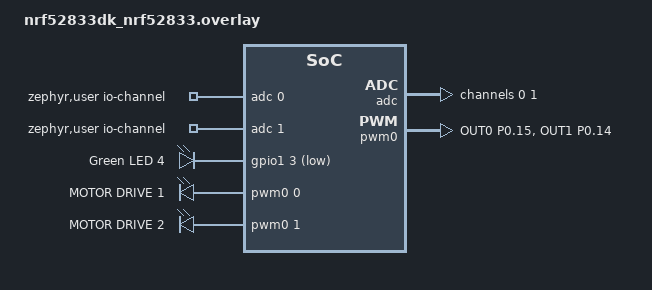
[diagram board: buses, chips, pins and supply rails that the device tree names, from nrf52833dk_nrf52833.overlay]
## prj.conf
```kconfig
CONFIG_GPIO=y
CONFIG_LOG=y
CONFIG_ADC=y
CONFIG_CBPRINTF_FP_SUPPORT=y
CONFIG_PWM=y
CONFIG_ADC_NRFX_SAADC=y
```

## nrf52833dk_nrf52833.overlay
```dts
// To get started, press Ctrl+Space (or Option+Esc) to bring up the completion menu and view the available nodes.

// You can also use the buttons in the sidebar to perform actions on nodes.
// Actions currently available include:

// * Enabling / disabling the node
// * Adding the bus to a bus
// * Removing the node
// * Connecting ADC channels

// For more help, browse the DeviceTree documentation at https://docs.zephyrproject.org/latest/guides/dts/index.html
// You can also visit the nRF DeviceTree extension documentation at https://nrfconnect.github.io/vscode-nrf-connect/devicetree/nrfdevicetree.html

/ {
  aliases {
    vslow = &vslow;
    vfast = &vfast;
    heartbeat= &led0;
    buzzer= &led1;
    ivdrip= &led2;
    alarm= &led3;
    error= &led4;
    button0= &button0;
    button1= &button1;
    button2= &button2;
    button3= &button3;
    drv1 = &drv1;
    drv2 = &drv2;
  };
  zephyr,user {
    io-channels = <&adc 0>, <&adc 1>; // need to "activate" these channels for IO usage
  };
  leds {
    compatible = "gpio-leds";
    led4: led_4 {        
      gpios = <&gpio1 3 GPIO_ACTIVE_LOW>;
      label = "Green LED 4";
    };
  };
  pwm_motor {
    compatible = "pwm-leds";
    drv1: drv_1 {
    pwms = < &pwm0 0 PWM_MSEC(1) PWM_POLARITY_INVERTED>; // 0 - channel
    label = "MOTOR DRIVE 1";
    };
    drv2: drv_2 {
    pwms = < &pwm0 1 PWM_MSEC(1) PWM_POLARITY_INVERTED>; // 1 - channel
    label = "MOTOR DRIVE 2";
    };
  };
};
&adc {
  #address-cells = <1>;
  #size-cells = <0>;

  vslow: channel@0 {
  reg = <0>; // channel number
  zephyr,reference = "ADC_REF_INTERNAL"; // voltage ref for SA (0.6 V)
  zephyr,gain = "ADC_GAIN_1_5"; // gain factor to scale ref voltage (1/gain)
  zephyr,acquisition-time = <ADC_ACQ_TIME_DEFAULT>;
  zephyr,input-positive = <NRF_SAADC_AIN0>; // P0.02
  zephyr,resolution = <8>; // bit depth
  };
  vfast: channel@1 {
    reg = <1>; // channel number
    zephyr,reference = "ADC_REF_VDD_1_4"; // voltage ref VDD
    zephyr,gain = "ADC_GAIN_1_5"; // gain factor to scale ref voltage (1/gain)
    zephyr,acquisition-time = <ADC_ACQ_TIME_DEFAULT>;
    zephyr,input-positive = <NRF_SAADC_AIN1>; // P0.03
    zephyr,resolution = <12>; // bit depth
    zephyr,vref-mv = <750>;
  };
  status = "okay"; // enable the ADC
};
&pwm0 {
  compatible = "nordic,nrf-pwm";
  reg = <0x4001c000 0x1000>;
  interrupts = <28 NRF_DEFAULT_IRQ_PRIORITY>;
  status = "okay";
  #pwm-cells = <3>;
  pinctrl-0 = <&pwm0_default>;
  pinctrl-1 = <&pwm0_sleep>;
  pinctrl-names = "default", "sleep";
};
&pinctrl {
  compatible = "nordic,nrf-pinctrl";
  status = "okay";
  pwm0_default: pwm0_default {
    group1 {
      psels = <NRF_PSEL(PWM_OUT0, 0, 15)>, // P0.15, channel 0
      <NRF_PSEL(PWM_OUT1, 0, 14)>; // P0.14, channel 1
      nordic,invert;
    };
  };
  pwm0_sleep: pwm0_sleep {
    group1 {
      psels = <NRF_PSEL(PWM_OUT0, 0, 15)>, // P0.15, channel 0
      <NRF_PSEL(PWM_OUT1, 0, 14)>; // P0.14, channel 1
      low-power-enable;
    };
  };
};
```

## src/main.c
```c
/*
 * Copyright (c) 2016 Intel Corporation
 *
 * SPDX-License-Identifier: Apache-2.0
 */

// load in the Zephyr library
#include <zephyr/kernel.h>
#include <zephyr/device.h>
#include <zephyr/devicetree.h>
#include <zephyr/drivers/gpio.h>
#include <zephyr/logging/log.h>
#include <zephyr/drivers/adc.h>
#include <zephyr/drivers/pwm.h>

LOG_MODULE_REGISTER(Zephyr_DPC,LOG_LEVEL_DBG);

/* 1000 msec = 1 sec */
#define ONE_HZ 500
#define FIVE_HZ 100
#define ONE_TO_FIVE_DIFF_HZ 400
#define FIVE_TO_TEN_DIFF_HZ 50

#define ADC_DT_SPEC_GET_BY_ALIAS(node_id)                    \
{                                                            \
  .dev = DEVICE_DT_GET(DT_PARENT(DT_ALIAS(node_id))),        \
  .channel_id = DT_REG_ADDR(DT_ALIAS(node_id)),              \
  ADC_CHANNEL_CFG_FROM_DT_NODE(DT_ALIAS(node_id))            \
}                                                            \

#define DT_SPEC_AND_COMMA(node_id, prop, idx)                \
	      ADC_DT_SPEC_GET_BY_IDX(node_id, idx),

// define structs based on DT aliases
/* ADC channels (specified in DT overlay) */
static const struct adc_dt_spec adc_vslow = ADC_DT_SPEC_GET_BY_ALIAS(vslow);
static const struct adc_dt_spec adc_vfast = ADC_DT_SPEC_GET_BY_ALIAS(vfast);

/* LEDs */
#define HB_NODE	DT_ALIAS(heartbeat)
static const struct gpio_dt_spec hb = GPIO_DT_SPEC_GET(HB_NODE, gpios);
#define BZ_NODE	DT_ALIAS(buzzer)
static const struct gpio_dt_spec bz = GPIO_DT_SPEC_GET(BZ_NODE, gpios);
#define IV_NODE	DT_ALIAS(ivdrip)
static const struct gpio_dt_spec iv = GPIO_DT_SPEC_GET(IV_NODE, gpios);
#define ALRM_NODE	DT_ALIAS(alarm)
static const struct gpio_dt_spec alrm = GPIO_DT_SPEC_GET(ALRM_NODE, gpios);
#define ERROR_NODE	DT_ALIAS(error)
static const struct gpio_dt_spec errled = GPIO_DT_SPEC_GET(ERROR_NODE, gpios);

/* Buttons */
#define BUTTON0_NODE	DT_ALIAS(button0) 
static const struct gpio_dt_spec butt0 = GPIO_DT_SPEC_GET(BUTTON0_NODE, gpios);
#define BUTTON1_NODE	DT_ALIAS(button1) 
static const struct gpio_dt_spec butt1 = GPIO_DT_SPEC_GET(BUTTON1_NODE, gpios);
#define BUTTON2_NODE	DT_ALIAS(button2) 
static const struct gpio_dt_spec butt2 = GPIO_DT_SPEC_GET(BUTTON2_NODE, gpios);
#define BUTTON3_NODE	DT_ALIAS(button3) 
static const struct gpio_dt_spec butt3 = GPIO_DT_SPEC_GET(BUTTON3_NODE, gpios);

/* PWM */
static const struct pwm_dt_spec mtr_drv1 = PWM_DT_SPEC_GET(DT_ALIAS(drv1));
static const struct pwm_dt_spec mtr_drv2 = PWM_DT_SPEC_GET(DT_ALIAS(drv2));

//global variables
static float maxV = 3300;
static int dormant = 0;
static int sleep_count = 0;
static int32_t val_mv_slow = 0;
static int32_t val_mv_fast = 0;
static float saw[20] = {0, 0.05, 0.1 , 0.15, 0.2 , 0.25, 0.3 , 0.35, 0.4 , 0.45, 0.5 ,
       0.55, 0.6 , 0.65, 0.7 , 0.75, 0.8 , 0.85, 0.9 , 0.95};
static int func_ind = 0;
static float func_val = 0;
static float func_hz = 0;

/* Timers */
//timer for heartbeat
void fixed_hb(struct k_timer *heartbeats)
{
  gpio_pin_toggle_dt(&hb);
}
K_TIMER_DEFINE(heartbeats, fixed_hb, NULL);

//timer for LED3
void mod_led2(struct k_timer *pwmled)
{
  if (func_ind == 19) {
    //reset indexing of lookup table if at end of tooth
    func_ind = 0;
  }
  else {
    //else increment the table values
    func_ind += 1;
  }
  int err;
  //modulate PWM based on table value
  err = pwm_set_pulse_dt(&mtr_drv2, mtr_drv2.period * saw[func_ind]); // % duty cycle based on ADC1 reading    
  if (err) {
    LOG_ERR("Could not set motor driver 2 (PWM1)");
  }
}
K_TIMER_DEFINE(pwmled, mod_led2, NULL);

/* Callbacks */
/* Resets everything to base state*/
void button3_pressed(const struct device *dev, struct gpio_callback *cb, uint32_t pins)
{
  k_timer_stop(&heartbeats);
  k_timer_start(&heartbeats, K_MSEC(ONE_HZ), K_MSEC(ONE_HZ));
}
static struct gpio_callback butt3_cb_data;

/* Sleep and restores to before sleep*/
void button0_pressed(const struct device *dev, struct gpio_callback *cb, uint32_t pins)
{
  if (sleep_count == 0){
    sleep_count = 1;
  }
  else {
    sleep_count = 0;
  }
}
static struct gpio_callback butt0_cb_data;

/* Read ADCs */
int32_t read_adc_val_slow()
{
  /* Read adc channel 0*/
  int16_t buf;
  struct adc_sequence sequence = {
    .buffer = &buf,
    .buffer_size = sizeof(buf), // bytes
  };
  LOG_INF("Measuring %s (channel %d)... ", adc_vslow.dev->name, adc_vslow.channel_id);
  (void)adc_sequence_init_dt(&adc_vslow, &sequence);
  int ret;
  ret = adc_read(adc_vslow.dev, &sequence);
  if (ret < 0) {
    LOG_ERR("Could not read (%d)", ret);
  } else {
    LOG_DBG("Raw ADC Buffer: %d", buf);
  }
  int32_t val_mv;
  val_mv = buf;
  ret = adc_raw_to_millivolts_dt(&adc_vslow, &val_mv);
  if (ret < 0) {
    LOG_ERR("Buffer cannot be converted to mV; returning raw buffer value.");
  } else {
    LOG_INF("AIN0 ADC Value (mV): %d", val_mv);
  }
  return val_mv;
}

int32_t read_adc_val_fast()
{
  /* Read adc channel 1*/
  int16_t buf;
  struct adc_sequence sequence = {
    .buffer = &buf,
    .buffer_size = sizeof(buf), // bytes
  };
  LOG_INF("Measuring %s (channel %d)... ", adc_vfast.dev->name, adc_vfast.channel_id);
  (void)adc_sequence_init_dt(&adc_vfast, &sequence);
  int ret;
  ret = adc_read(adc_vfast.dev, &sequence);
  if (ret < 0) {
    LOG_ERR("Could not read (%d)", ret);
  } else {
    LOG_DBG("Raw ADC Buffer: %d", buf);
  }
  int32_t val_mv;
  val_mv = buf;
  ret = adc_raw_to_millivolts_dt(&adc_vfast, &val_mv);
  if (ret < 0) {
    LOG_ERR("Buffer cannot be converted to mV; returning raw buffer value.");
  } else {
    LOG_INF("AIN1 ADC Value (mV): %d", val_mv);
  }
  return val_mv;
}

void main(void)
{
  int err;

  /**capture exit or error codes**/
  err = !device_is_ready(adc_vslow.dev);
  if (err){
    LOG_ERR("ADC controller device(s) not ready");
    return -1;
  }

  err = !device_is_ready(errled.port);
	if (err) {
		LOG_ERR("gpio1 interface not ready.");
    return;
	}

  err = !device_is_ready(butt0.port);
  if (err) {
    LOG_ERR("gpio0 interface not ready.");
    return;
  }

  if (!device_is_ready(mtr_drv1.dev)) {
    LOG_ERR("PWM device %s is not ready.", mtr_drv1.dev->name);
    return -1;
  }

  /* Setup ADCs */
  err = adc_channel_setup_dt(&adc_vslow);
  if (err < 0) {
    LOG_ERR("Could not setup vslow ADC channel (%d)", err);
    return err;
  }

  err = adc_channel_setup_dt(&adc_vfast);
  if (err < 0) {
    LOG_ERR("Could not setup vslow ADC channel (%d)", err);
    return err;
  }

  /* Setup LEDs */
  err = gpio_pin_configure_dt(&hb, GPIO_OUTPUT_LOW);
	if (err < 0) {
		LOG_ERR("Cannot configure heartbeat led");
    return;
	}

  err = gpio_pin_configure_dt(&bz, GPIO_OUTPUT_LOW);
	if (err < 0) {
		LOG_ERR("Cannot configure buzzer led");
    return;
	}

  err = gpio_pin_configure_dt(&iv, GPIO_OUTPUT_LOW);
	if (err < 0) {
		LOG_ERR("Cannot configure ivdrip led");
    return;
	}

  /* Setup buttons */
  err = gpio_pin_configure_dt(&butt0, GPIO_INPUT);
	if (err < 0) {
    LOG_ERR("Cannot configure button0");
		return;
	}

  err = gpio_pin_configure_dt(&butt3, GPIO_INPUT);
	if (err < 0) {
    LOG_ERR("Cannot configure button3");
		return;
	}

  /* Setup callbacks */
  err = gpio_pin_interrupt_configure_dt(&butt0, GPIO_INT_EDGE_TO_ACTIVE );
  if (err < 0) {
    LOG_ERR("Cannot configure button0");
		return;
	}
  gpio_init_callback(&butt0_cb_data, button0_pressed, BIT(butt0.pin));
	gpio_add_callback(butt0.port, &butt0_cb_data);

  err = gpio_pin_interrupt_configure_dt(&butt3, GPIO_INT_EDGE_TO_ACTIVE );
  if (err < 0) {
    LOG_ERR("Cannot configure button3");
		return;
	}
  gpio_init_callback(&butt3_cb_data, button3_pressed, BIT(butt3.pin));
	gpio_add_callback(butt3.port, &butt3_cb_data);

  /*start timer*/
  k_timer_start(&heartbeats, K_MSEC(ONE_HZ), K_MSEC(ONE_HZ));

  while (1) {
    /* loop to sample voltage reading and blink LED */
    if (sleep_count == 0){
      //read voltage of channel 0 and 1
      val_mv_slow = read_adc_val_slow();
      val_mv_fast = read_adc_val_fast();

      //modulate LED3 brightness based on adc channel 0 voltage
      err = pwm_set_pulse_dt(&mtr_drv1, mtr_drv1.period * (float) val_mv_slow / maxV); // % duty cycle based on ADC0 reading
      if (err) {
        LOG_ERR("Could not set motor driver 1 (PWM0)");
      }

      //calculate sawtooth hz based on adc channel 1 voltage
      float adchz = 10 - 5 * (float) val_mv_fast / maxV;
      //start timer for LED2 brightness
      k_timer_start(&pwmled, K_MSEC(adchz), K_MSEC(adchz));

      k_msleep(3*1000); //3 second delay
      k_timer_stop(&pwmled);
    }
    else {
      //set LEDs to sleep
      gpio_pin_set_dt(&bz, 0);
      gpio_pin_set_dt(&iv, 0);
      k_msleep(100); //0.1 second delay
    }
	}
}
```
